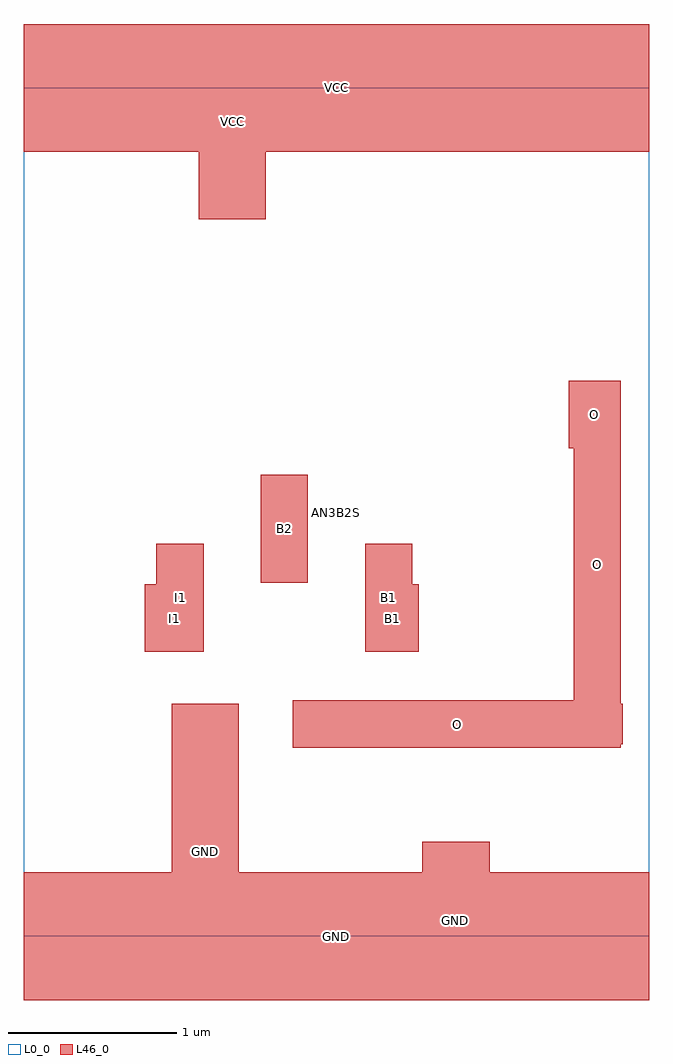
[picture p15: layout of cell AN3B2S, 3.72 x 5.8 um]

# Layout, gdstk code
import gdstk
lib = gdstk.Library(unit=1e-6, precision=1e-09)
def R(c, l, rs):  # rectangles x0, y0, x1, y1
    for r in rs: c.add(gdstk.rectangle(r[:2], r[2:], *l))
L0_0 = (0, 0)
L46_0 = (46, 0)

an3b2s = lib.new_cell('AN3B2S')
R(an3b2s, L0_0, [(0,0,3.72,5.04)])
R(an3b2s, L46_0, [(0,-0.38,3.72,0.38), (0.88,-0.38,1.28,1.38), (2.37,-0.38,2.77,0.56), (1.6,1.12,3.55,1.4), (3.27,1.12,3.55,3.3), (1.6,1.14,3.56,1.38), (0.72,1.69,1.07,2.09), (0.79,1.69,1.07,2.33), (2.03,1.69,2.31,2.33), (2.03,1.69,2.35,2.09), (1.41,2.1,1.69,2.74), (3.24,2.9,3.55,3.3), (1.04,4.26,1.44,5.42), (0,4.66,3.72,5.42)])
an3b2s.add(gdstk.Label('AN3B2S', (1.86,2.52), layer=0, texttype=0))
an3b2s.add(gdstk.Label('O', (3.41,2.21), layer=101, texttype=0))
an3b2s.add(gdstk.Label('O', (3.395,3.1), layer=101, texttype=0))
an3b2s.add(gdstk.Label('O', (2.58,1.26), layer=101, texttype=0))
an3b2s.add(gdstk.Label('O', (2.575,1.26), layer=101, texttype=0))
an3b2s.add(gdstk.Label('I1', (0.93,2.01), layer=101, texttype=0))
an3b2s.add(gdstk.Label('I1', (0.895,1.89), layer=101, texttype=0))
an3b2s.add(gdstk.Label('B2', (1.55,2.42), layer=101, texttype=0))
an3b2s.add(gdstk.Label('B1', (2.19,1.89), layer=101, texttype=0))
an3b2s.add(gdstk.Label('B1', (2.17,2.01), layer=101, texttype=0))
an3b2s.add(gdstk.Label('GND', (2.57,0.09), layer=101, texttype=0))
an3b2s.add(gdstk.Label('GND', (1.86,0), layer=101, texttype=0))
an3b2s.add(gdstk.Label('GND', (1.08,0.5), layer=101, texttype=0))
an3b2s.add(gdstk.Label('VCC', (1.86,5.04), layer=101, texttype=0))
an3b2s.add(gdstk.Label('VCC', (1.24,4.84), layer=101, texttype=0))

lib.write_gds('AN3B2S.gds')
